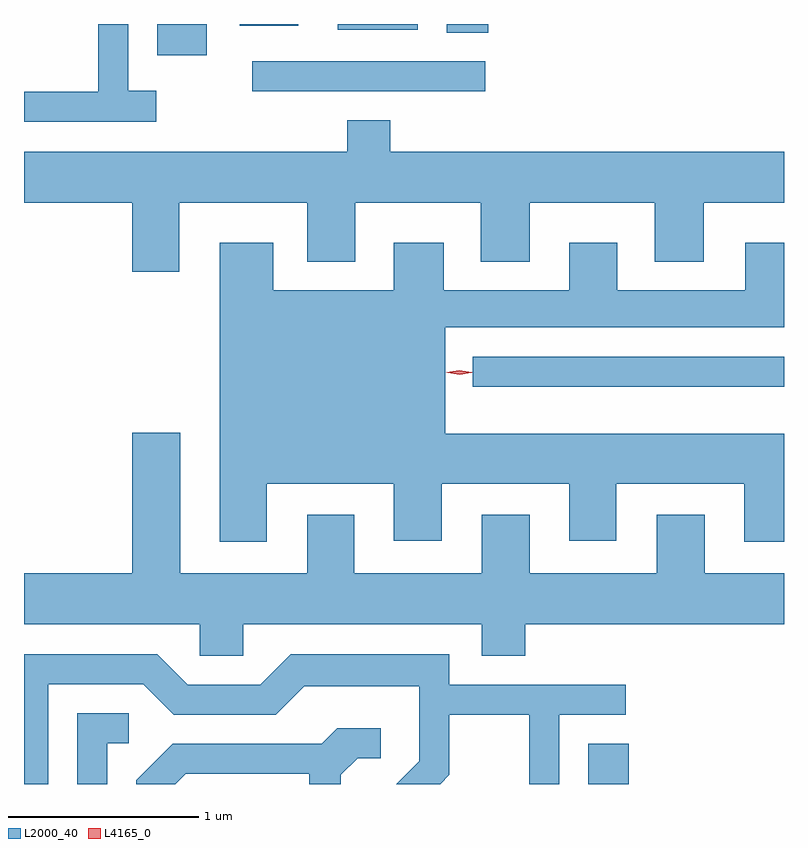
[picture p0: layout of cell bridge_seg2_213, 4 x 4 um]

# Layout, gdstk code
import gdstk
lib = gdstk.Library(unit=1e-6, precision=1e-09)
def R(c, l, rs):  # rectangles x0, y0, x1, y1
    for r in rs: c.add(gdstk.rectangle(r[:2], r[2:], *l))
def P(c, l, *ps):  # polygons
    for p in ps: c.add(gdstk.Polygon(p, *l))
L2000_40 = (2000, 40)
L4165_0 = (4165, 0)

bridge_seg2_213 = lib.new_cell('bridge_seg2_213')
R(bridge_seg2_213, L2000_40, [(603.041,1056.356,603.254,1056.569), (602.433,1058.446,604.071,1058.604), (601.273,1060.001,602.498,1060.159), (600.771,1060.191,601.034,1060.356), (602.296,1060.311,602.514,1060.356), (601.721,1060.326,602.144,1060.356), (601.206,1060.346,601.514,1060.356)])
P(bridge_seg2_213, L2000_40, [(600.768,1060.004),(600.619,1060.004),(600.619,1060.356),(600.461,1060.356),(600.461,1059.999),(600.071,1059.999),(600.071,1059.841),(600.768,1059.841)],
  [(600.889,1059.416),(601.561,1059.416),(601.561,1059.106),(601.814,1059.106),(601.814,1059.416),(602.476,1059.416),(602.476,1059.106),(602.734,1059.106),(602.734,1059.416),(603.391,1059.416),(603.391,1059.106),(603.649,1059.106),(603.649,1059.416),(604.071,1059.416),(604.071,1059.684),(601.999,1059.684),(601.999,1059.849),(601.771,1059.849),(601.771,1059.684),(600.071,1059.684),(600.071,1059.416),(600.641,1059.416),(600.641,1059.051),(600.889,1059.051)],
  [(601.349,1057.936),(602.016,1057.936),(602.016,1057.636),(602.269,1057.636),(602.269,1057.936),(602.941,1057.936),(602.941,1057.636),(603.189,1057.636),(603.189,1057.936),(603.861,1057.936),(603.861,1057.631),(604.071,1057.631),(604.071,1058.199),(602.289,1058.199),(602.289,1058.761),(604.071,1058.761),(604.071,1059.204),(603.866,1059.204),(603.866,1058.954),(603.194,1058.954),(603.194,1059.204),(602.941,1059.204),(602.941,1058.954),(602.279,1058.954),(602.279,1059.204),(602.016,1059.204),(602.016,1058.954),(601.384,1058.954),(601.384,1059.204),(601.101,1059.204),(601.101,1057.631),(601.349,1057.631)],
  [(601.224,1057.196),(602.481,1057.196),(602.481,1057.031),(602.709,1057.031),(602.709,1057.196),(604.071,1057.196),(604.071,1057.464),(603.654,1057.464),(603.654,1057.774),(603.401,1057.774),(603.401,1057.464),(602.734,1057.464),(602.734,1057.774),(602.481,1057.774),(602.481,1057.464),(601.809,1057.464),(601.809,1057.774),(601.561,1057.774),(601.561,1057.464),(600.894,1057.464),(600.894,1058.204),(600.641,1058.204),(600.641,1057.464),(600.071,1057.464),(600.071,1057.196),(600.996,1057.196),(600.996,1057.031),(601.224,1057.031)],
  [(600.199,1056.881),(600.699,1056.881),(600.859,1056.721),(601.397,1056.721),(601.547,1056.871),(602.151,1056.871),(602.151,1056.477),(602.03,1056.356),(602.261,1056.356),(602.309,1056.404),(602.309,1056.721),(602.731,1056.721),(602.731,1056.356),(602.889,1056.356),(602.889,1056.721),(603.238,1056.721),(603.238,1056.879),(602.309,1056.879),(602.309,1057.039),(601.474,1057.039),(601.314,1056.879),(600.932,1056.879),(600.772,1057.039),(600.071,1057.039),(600.071,1056.356),(600.199,1056.356)],
  [(600.509,1056.571),(600.623,1056.571),(600.623,1056.729),(600.351,1056.729),(600.351,1056.356),(600.509,1056.356)],
  [(600.922,1056.411),(601.571,1056.411),(601.571,1056.356),(601.739,1056.356),(601.739,1056.404),(601.827,1056.491),(601.948,1056.491),(601.948,1056.649),(601.719,1056.649),(601.639,1056.569),(600.854,1056.569),(600.661,1056.377),(600.661,1056.356),(600.866,1056.356)])
P(bridge_seg2_213, L4165_0, [(602.364,1058.511),(602.302,1058.52),(602.302,1058.52),(602.302,1058.521),(602.364,1058.531),(602.426,1058.522),(602.427,1058.521),(602.426,1058.52)],
  [(602.361,1058.513),(602.293,1058.522),(602.292,1058.523),(602.293,1058.524),(602.361,1058.533),(602.43,1058.524),(602.43,1058.523),(602.43,1058.522)])

lib.write_gds('bridge_seg2_213.gds')
